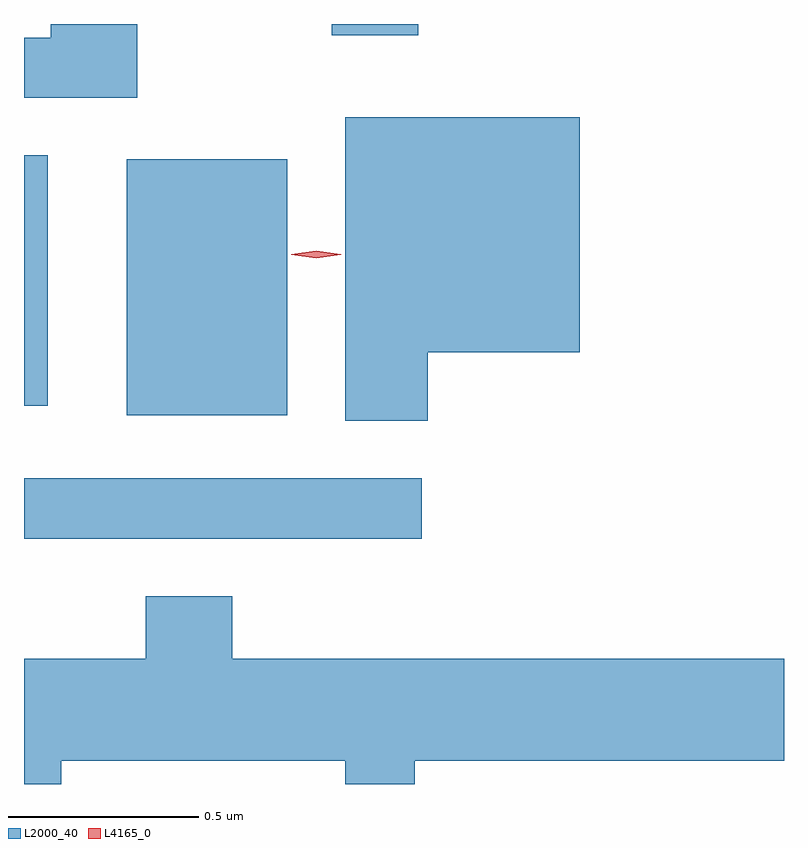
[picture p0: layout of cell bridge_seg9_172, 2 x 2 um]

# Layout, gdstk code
import gdstk
lib = gdstk.Library(unit=1e-6, precision=1e-09)
def R(c, l, rs):  # rectangles x0, y0, x1, y1
    for r in rs: c.add(gdstk.rectangle(r[:2], r[2:], *l))
def P(c, l, *ps):  # polygons
    for p in ps: c.add(gdstk.Polygon(p, *l))
L2000_40 = (2000, 40)
L4165_0 = (4165, 0)

bridge_seg9_172 = lib.new_cell('bridge_seg9_172')
R(bridge_seg9_172, L2000_40, [(1442.091,2076.761,1443.138,2076.919), (1442.361,2077.086,1442.784,2077.759), (1442.091,2077.111,1442.154,2077.769), (1442.901,2078.086,1443.129,2078.115)])
P(bridge_seg9_172, L2000_40, [(1442.389,2078.115),(1442.161,2078.115),(1442.161,2078.079),(1442.091,2078.079),(1442.091,2077.921),(1442.389,2077.921)],
  [(1443.154,2077.251),(1443.554,2077.251),(1443.554,2077.869),(1442.936,2077.869),(1442.936,2077.071),(1443.154,2077.071)],
  [(1442.189,2076.176),(1442.936,2076.176),(1442.936,2076.115),(1443.119,2076.115),(1443.119,2076.176),(1444.091,2076.176),(1444.091,2076.444),(1442.639,2076.444),(1442.639,2076.609),(1442.411,2076.609),(1442.411,2076.444),(1442.091,2076.444),(1442.091,2076.115),(1442.189,2076.115)])
P(bridge_seg9_172, L4165_0, [(1442.86,2077.499),(1442.794,2077.508),(1442.794,2077.508),(1442.794,2077.509),(1442.86,2077.518),(1442.925,2077.509),(1442.926,2077.509),(1442.925,2077.508)])

lib.write_gds('bridge_seg9_172.gds')
